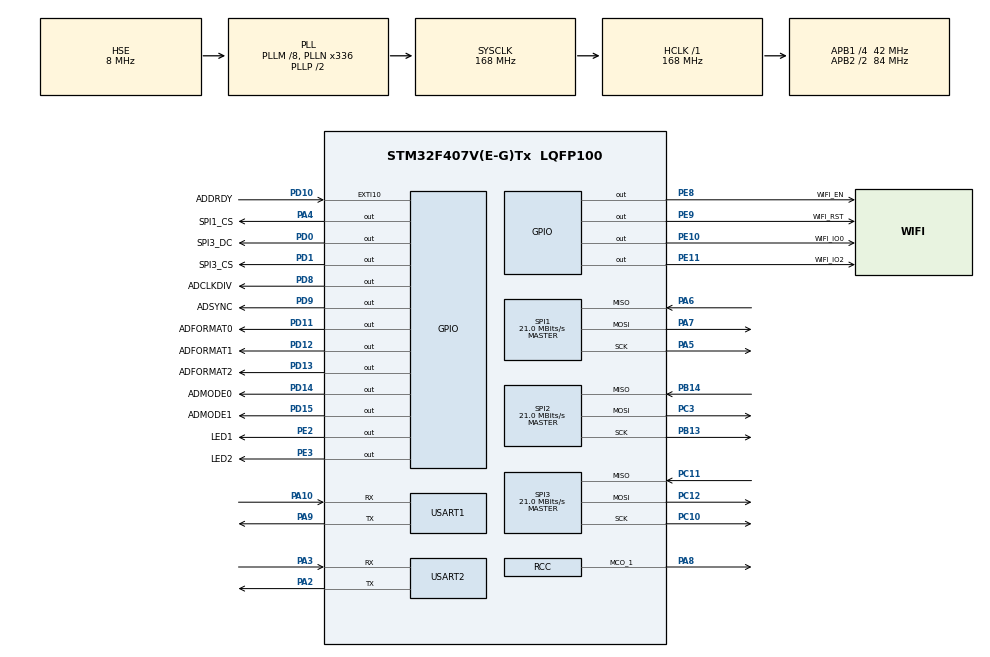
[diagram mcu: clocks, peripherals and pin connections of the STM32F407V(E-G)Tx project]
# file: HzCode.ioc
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Dma.Request0=USART2_TX
Dma.Request1=USART1_TX
Dma.USART1_TX.1.Direction=DMA_MEMORY_TO_PERIPH
Dma.USART1_TX.1.FIFOMode=DMA_FIFOMODE_DISABLE
Dma.USART1_TX.1.Instance=DMA2_Stream7
Dma.USART1_TX.1.MemDataAlignment=DMA_MDATAALIGN_BYTE
Dma.USART1_TX.1.MemInc=DMA_MINC_ENABLE
Dma.USART1_TX.1.Mode=DMA_NORMAL
Dma.USART1_TX.1.PeriphDataAlignment=DMA_PDATAALIGN_BYTE
Dma.USART1_TX.1.PeriphInc=DMA_PINC_DISABLE
Dma.USART1_TX.1.Priority=DMA_PRIORITY_LOW
Dma.USART2_TX.0.Direction=DMA_MEMORY_TO_PERIPH
Dma.USART2_TX.0.FIFOMode=DMA_FIFOMODE_DISABLE
Dma.USART2_TX.0.Instance=DMA1_Stream6
Dma.USART2_TX.0.MemDataAlignment=DMA_MDATAALIGN_BYTE
Dma.USART2_TX.0.MemInc=DMA_MINC_ENABLE
Dma.USART2_TX.0.Mode=DMA_NORMAL
Dma.USART2_TX.0.PeriphDataAlignment=DMA_PDATAALIGN_BYTE
Dma.USART2_TX.0.PeriphInc=DMA_PINC_DISABLE
Dma.USART2_TX.0.Priority=DMA_PRIORITY_LOW
Mcu.Family=STM32F4
Mcu.Name=STM32F407V(E-G)Tx
Mcu.Package=LQFP100
NVIC.DMA1_Stream6_IRQn=true\:0\:0\:false\:false\:true\:false
NVIC.DMA2_Stream7_IRQn=true\:0\:0\:false\:false\:true\:false
NVIC.EXTI15_10_IRQn=true\:3\:2\:true\:false\:true\:true
NVIC.PriorityGroup=NVIC_PRIORITYGROUP_2
NVIC.TIM3_IRQn=true\:2\:3\:true\:false\:true\:true
NVIC.USART1_IRQn=true\:2\:0\:true\:false\:true\:true
NVIC.USART2_IRQn=true\:2\:1\:true\:false\:true\:true
PA10.Mode=Asynchronous
PA10.Signal=USART1_RX
PA13.Mode=JTAG_5_pins
PA13.Signal=SYS_JTMS-SWDIO
PA14.Mode=JTAG_5_pins
PA14.Signal=SYS_JTCK-SWCLK
PA15.Mode=JTAG_5_pins
PA15.Signal=SYS_JTDI
PA2.Mode=Asynchronous
PA2.Signal=USART2_TX
PA3.Mode=Asynchronous
PA3.Signal=USART2_RX
PA4.GPIO_Label=SPI1_CS
PA4.GPIO_Speed=GPIO_SPEED_FREQ_HIGH
PA4.PinState=GPIO_PIN_SET
PA4.Signal=GPIO_Output
PA5.Mode=Full_Duplex_Master
PA5.Signal=SPI1_SCK
PA6.Mode=Full_Duplex_Master
PA6.Signal=SPI1_MISO
PA7.Mode=Full_Duplex_Master
PA7.Signal=SPI1_MOSI
PA8.Mode=Clock-out-1
PA8.Signal=RCC_MCO_1
PA9.Mode=Asynchronous
PA9.Signal=USART1_TX
PB13.Mode=Full_Duplex_Master
PB13.Signal=SPI2_SCK
PB14.Mode=Full_Duplex_Master
PB14.Signal=SPI2_MISO
PB3.Mode=JTAG_5_pins
PB3.Signal=SYS_JTDO-SWO
PB4.Mode=JTAG_5_pins
PB4.Signal=SYS_JTRST
PC10.Mode=Full_Duplex_Master
PC10.Signal=SPI3_SCK
PC11.Mode=Full_Duplex_Master
PC11.Signal=SPI3_MISO
PC12.Mode=Full_Duplex_Master
PC12.Signal=SPI3_MOSI
PC3.Mode=Full_Duplex_Master
PC3.Signal=SPI2_MOSI
PD0.GPIO_Label=SPI3_DC
PD0.Signal=GPIO_Output
PD1.GPIO_Label=SPI3_CS
PD1.Signal=GPIO_Output
PD10.GPIO_Label=ADDRDY
PD10.GPIO_ModeDefaultEXTI=GPIO_MODE_IT_FALLING
PD10.Signal=GPXTI10
PD11.GPIO_Label=ADFORMAT0
PD11.PinState=GPIO_PIN_SET
PD11.Signal=GPIO_Output
PD12.GPIO_Label=ADFORMAT1
PD12.Signal=GPIO_Output
PD13.GPIO_Label=ADFORMAT2
PD13.Signal=GPIO_Output
PD14.GPIO_Label=ADMODE0
PD14.PinState=GPIO_PIN_SET
PD14.Signal=GPIO_Output
PD15.GPIO_Label=ADMODE1
PD15.PinState=GPIO_PIN_SET
PD15.Signal=GPIO_Output
PD8.GPIO_Label=ADCLKDIV
PD8.PinState=GPIO_PIN_SET
PD8.Signal=GPIO_Output
PD9.GPIO_Label=ADSYNC
PD9.PinState=GPIO_PIN_SET
PD9.Signal=GPIO_Output
PE10.GPIO_Label=WIFI_IO0
PE10.PinState=GPIO_PIN_SET
PE10.Signal=GPIO_Output
PE11.GPIO_Label=WIFI_IO2
PE11.PinState=GPIO_PIN_SET
PE11.Signal=GPIO_Output
PE2.GPIO_Label=LED1
PE2.Signal=GPIO_Output
PE3.GPIO_Label=LED2
PE3.Signal=GPIO_Output
PE8.GPIO_Label=WIFI_EN
PE8.PinState=GPIO_PIN_SET
PE8.Signal=GPIO_Output
PE9.GPIO_Label=WIFI_RST
PE9.PinState=GPIO_PIN_SET
PE9.Signal=GPIO_Output
PH0-OSC_IN.Mode=HSE-External-Oscillator
PH0-OSC_IN.Signal=RCC_OSC_IN
PH1-OSC_OUT.Mode=HSE-External-Oscillator
PH1-OSC_OUT.Signal=RCC_OSC_OUT
ProjectManager.HeapSize=0x200
ProjectManager.StackSize=0x400
ProjectManager.TargetToolchain=MDK-ARM V5
RCC.48MHZClocksFreq_Value=84000000
RCC.AHBFreq_Value=168000000
RCC.APB1CLKDivider=RCC_HCLK_DIV4
RCC.APB1Freq_Value=42000000
RCC.APB1TimFreq_Value=84000000
RCC.APB2CLKDivider=RCC_HCLK_DIV2
RCC.APB2Freq_Value=84000000
RCC.APB2TimFreq_Value=168000000
RCC.CortexFreq_Value=168000000
RCC.HCLKFreq_Value=168000000
RCC.HSE_VALUE=8000000
RCC.HSI_VALUE=16000000
RCC.LSE_VALUE=32768
RCC.PLLM=8
RCC.PLLN=336
RCC.PLLSourceVirtual=RCC_PLLSOURCE_HSE
RCC.RCC_MCO1Source=RCC_MCO1SOURCE_HSE
RCC.SYSCLKFreq_VALUE=168000000
RCC.SYSCLKSource=RCC_SYSCLKSOURCE_PLLCLK
RCC.VCOOutputFreq_Value=336000000
SPI1.BaudRatePrescaler=SPI_BAUDRATEPRESCALER_4
SPI1.CalculateBaudRate=21.0 MBits/s
SPI1.Direction=SPI_DIRECTION_2LINES
SPI1.Mode=SPI_MODE_MASTER
SPI1.VirtualType=VM_MASTER
SPI2.BaudRatePrescaler=SPI_BAUDRATEPRESCALER_2
SPI2.CalculateBaudRate=21.0 MBits/s
SPI2.Direction=SPI_DIRECTION_2LINES
SPI2.Mode=SPI_MODE_MASTER
SPI2.VirtualType=VM_MASTER
SPI3.BaudRatePrescaler=SPI_BAUDRATEPRESCALER_2
SPI3.CalculateBaudRate=21.0 MBits/s
SPI3.Direction=SPI_DIRECTION_2LINES
SPI3.Mode=SPI_MODE_MASTER
SPI3.VirtualType=VM_MASTER
TIM3.Period=1000-1
TIM3.Prescaler=840-1
USART1.VirtualMode=VM_ASYNC
USART2.VirtualMode=VM_ASYNC
VP_CRC_VS_CRC.Mode=CRC_Activate
VP_TIM3_VS_ClockSourceINT.Mode=Internal
board=HzCode

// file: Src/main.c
/**
  ******************************************************************************
  * File Name          : main.c
  * Description        : Main program body
  ******************************************************************************
  ** This notice applies to any and all portions of this file
  * that are not between comment pairs USER CODE BEGIN and
  * USER CODE END. Other portions of this file, whether
  * inserted by the user or by software development tools
  * are owned by their respective copyright owners.
  *
  * COPYRIGHT(c) 2018 STMicroelectronics
  *
  * Redistribution and use in source and binary forms, with or without modification,
  * are permitted provided that the following conditions are met:
  *   1. Redistributions of source code must retain the above copyright notice,
  *      this list of conditions and the following disclaimer.
  *   2. Redistributions in binary form must reproduce the above copyright notice,
  *      this list of conditions and the following disclaimer in the documentation
  *      and/or other materials provided with the distribution.
  *   3. Neither the name of STMicroelectronics nor the names of its contributors
  *      may be used to endorse or promote products derived from this software
  *      without specific prior written permission.
  *
  * THIS SOFTWARE IS PROVIDED BY THE COPYRIGHT HOLDERS AND CONTRIBUTORS "AS IS"
  * AND ANY EXPRESS OR IMPLIED WARRANTIES, INCLUDING, BUT NOT LIMITED TO, THE
  * IMPLIED WARRANTIES OF MERCHANTABILITY AND FITNESS FOR A PARTICULAR PURPOSE ARE
  * DISCLAIMED. IN NO EVENT SHALL THE COPYRIGHT HOLDER OR CONTRIBUTORS BE LIABLE
  * FOR ANY DIRECT, INDIRECT, INCIDENTAL, SPECIAL, EXEMPLARY, OR CONSEQUENTIAL
  * DAMAGES (INCLUDING, BUT NOT LIMITED TO, PROCUREMENT OF SUBSTITUTE GOODS OR
  * SERVICES; LOSS OF USE, DATA, OR PROFITS; OR BUSINESS INTERRUPTION) HOWEVER
  * CAUSED AND ON ANY THEORY OF LIABILITY, WHETHER IN CONTRACT, STRICT LIABILITY,
  * OR TORT (INCLUDING NEGLIGENCE OR OTHERWISE) ARISING IN ANY WAY OUT OF THE USE
  * OF THIS SOFTWARE, EVEN IF ADVISED OF THE POSSIBILITY OF SUCH DAMAGE.
  *
  ******************************************************************************
  */

#include "main.h"
#include "stm32f4xx_hal.h"
#include "crc.h"
#include "dma.h"
#include "spi.h"
#include "tim.h"
#include "usart.h"
#include "gpio.h"

/* USER CODE BEGIN Includes */

/***********有几点注意事项***********
*1. ADS1274 SPI通信必须配置为全双工master，要不然数据就不对
*2. DMA通讯的sendbuf一定要全局变量或静态变量，因为是放到内存里慢慢发，临时变量数就不对了
*************************************/
#include "oled.h"
#include "ads1274.h"
#include "dac8830.h"

#include <string.h>
#include <math.h>

/* USER CODE END Includes */

/* USER CODE BEGIN PV */
/* Private variables ---------------------------------------------------------*/

/* USER CODE END PV */

void SystemClock_Config(void);

/* USER CODE BEGIN PFP */
/* Private function prototypes -----------------------------------------------*/
void InitWIFI(void)
{
			uint8_t tempbuf[256]={'\0'};
			HAL_Delay(5000);
			sprintf((char*)tempbuf,"AT+CIPSTART=\"TCP\",\"192.168.1.100\",8080\r\n");		 //连接热TCPIP服务器
			HAL_UART_Transmit(&huart2,tempbuf,100,0xFFFF);

			HAL_Delay(1000);
			memcpy(tempbuf,'\0',256);
			sprintf((char*)tempbuf,"AT+CIPMODE=1\r\n");		 //1透传模式
			HAL_UART_Transmit(&huart2,tempbuf,100,0xFFFF);

			HAL_Delay(1000);
			memcpy(tempbuf,'\0',256);
			sprintf((char*)tempbuf,"AT+CIPSEND\r\n");		 //连接热TCPIP服务器
			HAL_UART_Transmit(&huart2,tempbuf,100,0xFFFF);
			HAL_Delay(1000);

}
/* USER CODE END PFP */

/* USER CODE BEGIN 0 */
uint8_t bDisplay = 0;

/* USER CODE END 0 */

int main(void)
{

  /* USER CODE BEGIN 1 */
	uint8_t disp[256]={0};
  /* USER CODE END 1 */

  /* MCU Configuration----------------------------------------------------------*/

  /* Reset of all peripherals, Initializes the Flash interface and the Systick. */
  HAL_Init();

  /* Configure the system clock */
  SystemClock_Config();

  /* Initialize all configured peripherals */
  MX_GPIO_Init();
  MX_DMA_Init();
  MX_CRC_Init();
  MX_SPI1_Init();
  MX_SPI2_Init();
  MX_SPI3_Init();
  MX_USART1_UART_Init();
  MX_USART2_UART_Init();
  MX_TIM3_Init();

  /* USER CODE BEGIN 2 */
	OLED_ShowString(0,3,(uint8_t*)"Initializing");   //装逼用
	OLED_Init();
	OLED_Clear();
	//ADS1274_Init();
	HAL_UART_Receive_IT(&huart1, (uint8_t *)(&RxBuf[uart.iRxPtr]), 1);
	HAL_TIM_Base_Start_IT(&htim3);

	//InitWIFI();
	OLED_Clear();
	OLED_ShowString(0,3,(uint8_t*)"Complete!!!"); //装逼用
	HAL_Delay(1000);

	iDacMv = 10;
	DAC_SetVout(iDacMv);

	uart.bSended2 = TRUE;
	uart.bSended1 = TRUE;

  /* USER CODE END 2 */

  /* Infinite loop */
  while (1)
  {

  /* USER CODE BEGIN 3 */
		if(bDisplay){
			bDisplay = 0;

			OLED_ShowString(0,0,(uint8_t*)"GFET Nanosensor");
			sprintf((char* )disp,"Vg: %-7.3lf mV",vout[1]*1000);
			//sprintf((char* )disp,"VAL: %d",123);

			OLED_ShowString(0,3,disp);

			double val = 0.17712*pow((0.999884*v0-vout[0])/(vout[0]-1.064789*v0),0.69558);
			sprintf((char* )disp,"CI: %-7.5lf nM",val);
			OLED_ShowString(0,6,disp);
		}

		if(bAdsDataReady){
			bAdsDataReady = 0;
			ADS1274_ProcessData();
		}

		if(bUartNewData == TRUE){
			bUartNewData = FALSE;
			dataFrame_OK(&uart, RxBuf);
		}
  }

	//HAL_Delay(100);
  /* USER CODE END 3 */

}

/** System Clock Configuration
*/
void SystemClock_Config(void)
{

  RCC_OscInitTypeDef RCC_OscInitStruct;
  RCC_ClkInitTypeDef RCC_ClkInitStruct;

    /**Configure the main internal regulator output voltage
    */
  __HAL_RCC_PWR_CLK_ENABLE();

  __HAL_PWR_VOLTAGESCALING_CONFIG(PWR_REGULATOR_VOLTAGE_SCALE1);

    /**Initializes the CPU, AHB and APB busses clocks
    */
  RCC_OscInitStruct.OscillatorType = RCC_OSCILLATORTYPE_HSE;
  RCC_OscInitStruct.HSEState = RCC_HSE_ON;
  RCC_OscInitStruct.PLL.PLLState = RCC_PLL_ON;
  RCC_OscInitStruct.PLL.PLLSource = RCC_PLLSOURCE_HSE;
  RCC_OscInitStruct.PLL.PLLM = 8;
  RCC_OscInitStruct.PLL.PLLN = 336;
  RCC_OscInitStruct.PLL.PLLP = RCC_PLLP_DIV2;
  RCC_OscInitStruct.PLL.PLLQ = 4;
  if (HAL_RCC_OscConfig(&RCC_OscInitStruct) != HAL_OK)
  {
    _Error_Handler(__FILE__, __LINE__);
  }

    /**Initializes the CPU, AHB and APB busses clocks
    */
  RCC_ClkInitStruct.ClockType = RCC_CLOCKTYPE_HCLK|RCC_CLOCKTYPE_SYSCLK
                              |RCC_CLOCKTYPE_PCLK1|RCC_CLOCKTYPE_PCLK2;
  RCC_ClkInitStruct.SYSCLKSource = RCC_SYSCLKSOURCE_PLLCLK;
  RCC_ClkInitStruct.AHBCLKDivider = RCC_SYSCLK_DIV1;
  RCC_ClkInitStruct.APB1CLKDivider = RCC_HCLK_DIV4;
  RCC_ClkInitStruct.APB2CLKDivider = RCC_HCLK_DIV2;

  if (HAL_RCC_ClockConfig(&RCC_ClkInitStruct, FLASH_LATENCY_5) != HAL_OK)
  {
    _Error_Handler(__FILE__, __LINE__);
  }

  HAL_RCC_MCOConfig(RCC_MCO1, RCC_MCO1SOURCE_HSE, RCC_MCODIV_1);

    /**Configure the Systick interrupt time
    */
  HAL_SYSTICK_Config(HAL_RCC_GetHCLKFreq()/1000);

    /**Configure the Systick
    */
  HAL_SYSTICK_CLKSourceConfig(SYSTICK_CLKSOURCE_HCLK);

  /* SysTick_IRQn interrupt configuration */
  HAL_NVIC_SetPriority(SysTick_IRQn, 0, 0);
}

/* USER CODE BEGIN 4 */
void HAL_TIM_PeriodElapsedCallback(TIM_HandleTypeDef *htim)
{

	if (htim->Instance == htim3.Instance){
		//bDisplay = 1;

		static uint8_t iii = 0;
		if(iii++ >= 10){
			bDisplay = 1;
			HAL_GPIO_TogglePin(LED1_GPIO_Port,LED1_Pin);
			HAL_GPIO_TogglePin(LED2_GPIO_Port,LED2_Pin);
			iii=0;

			memcpy(TxBuf2,'\0',256);
			sprintf((char*)TxBuf2,"Vout1: %f, Vout2: %f, Vout3: %f, Vout4: %f\n", vout[0],vout[1],vout[2],vout[3]);
			HAL_UART_Transmit_DMA(&huart2,TxBuf2,strlen(TxBuf2));

			//HAL_UART_Transmit(&huart2,tempbuf,strlen(tempbuf),0xFFFF);
		}

	}

}

/* USER CODE END 4 */

void _Error_Handler(char * file, int line)
{
  while(1)
  {
  }
}

/************************ (C) COPYRIGHT STMicroelectronics *****END OF FILE****/
